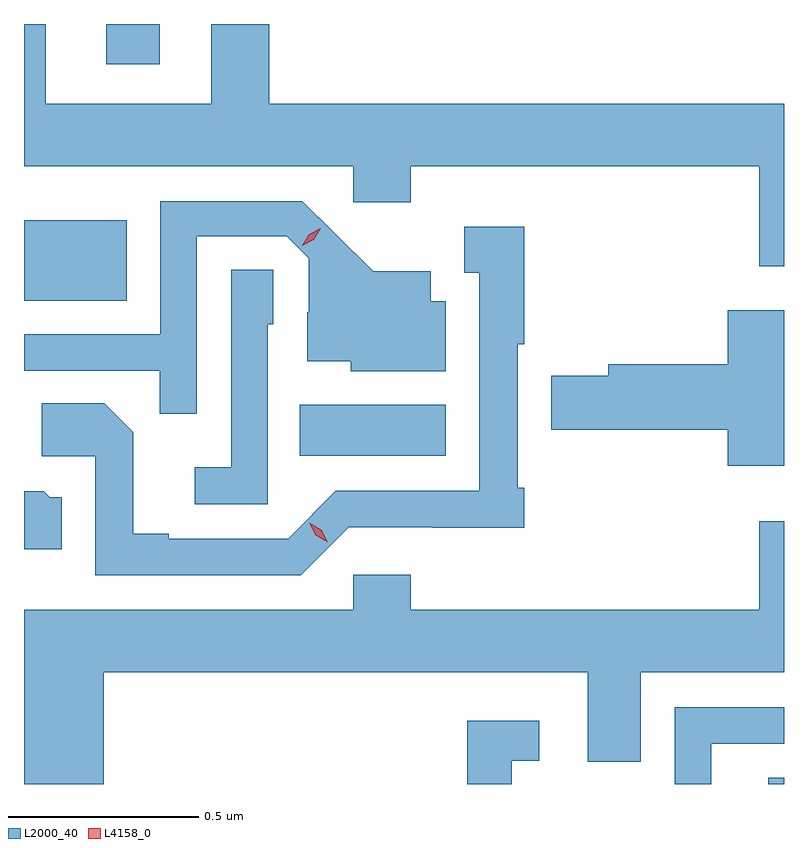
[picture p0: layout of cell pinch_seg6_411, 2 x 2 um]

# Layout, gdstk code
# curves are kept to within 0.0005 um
import gdstk
lib = gdstk.Library(unit=1e-6, precision=1e-09)
def R(c, l, rs):  # rectangles x0, y0, x1, y1
    for r in rs: c.add(gdstk.rectangle(r[:2], r[2:], *l))
def P(c, l, *ps):  # polygons
    for p in ps: c.add(gdstk.Polygon(p, *l))
L2000_40 = (2000, 40)
L4158_0 = (4158, 0)

pinch_seg6_411 = lib.new_cell('pinch_seg6_411')
R(pinch_seg6_411, L2000_40, [(666.96,933.722,667.002,933.738), (665.728,934.586,666.112,934.72), (665.002,934.994,665.272,935.206), (665.219,935.616,665.359,935.722)])
P(pinch_seg6_411, L2000_40, [(665.868,935.253),(666.02,935.253),(666.02,935.348),(666.937,935.348),(666.937,935.085),(667.002,935.085),(667.002,935.512),(665.648,935.512),(665.648,935.722),(665.495,935.722),(665.495,935.512),(665.059,935.512),(665.059,935.722),(665.002,935.722),(665.002,935.348),(665.868,935.348)],
  [(665.457,935.163),(665.694,935.163),(665.751,935.106),(665.751,934.964),(665.747,934.964),(665.747,934.835),(665.862,934.835),(665.862,934.808),(666.112,934.808),(666.112,934.993),(666.073,934.993),(666.073,935.071),(665.921,935.071),(665.734,935.256),(665.361,935.256),(665.361,934.905),(665.002,934.905),(665.002,934.809),(665.359,934.809),(665.359,934.696),(665.457,934.696)],
  [(665.856,934.398),(666.078,934.398),(666.078,934.397),(666.319,934.397),(666.319,934.501),(666.301,934.501),(666.301,934.879),(666.319,934.879),(666.319,935.188),(666.161,935.188),(666.161,935.067),(666.2,935.067),(666.2,934.494),(665.823,934.494),(665.697,934.368),(665.383,934.368),(665.383,934.381),(665.289,934.381),(665.289,934.648),(665.213,934.724),(665.049,934.724),(665.049,934.584),(665.19,934.584),(665.19,934.272),(665.73,934.272)],
  [(665.643,934.932),(665.658,934.932),(665.658,935.075),(665.547,935.075),(665.547,934.555),(665.451,934.555),(665.451,934.458),(665.643,934.458)],
  [(667.002,934.969),(666.854,934.969),(666.854,934.826),(666.539,934.826),(666.539,934.796),(666.39,934.796),(666.39,934.654),(666.854,934.654),(666.854,934.559),(667.002,934.559)],
  [(665.101,934.476),(665.07,934.476),(665.054,934.492),(665.002,934.492),(665.002,934.34),(665.101,934.34)],
  [(665.212,934.016),(666.485,934.016),(666.485,933.781),(666.625,933.781),(666.625,934.016),(667.002,934.016),(667.002,934.414),(666.937,934.414),(666.937,934.18),(666.02,934.18),(666.02,934.273),(665.868,934.273),(665.868,934.18),(665.002,934.18),(665.002,933.722),(665.212,933.722)],
  [(666.811,933.828),(667.002,933.828),(667.002,933.924),(666.714,933.924),(666.714,933.722),(666.811,933.722)],
  [(666.285,933.783),(666.358,933.783),(666.358,933.889),(666.169,933.889),(666.169,933.722),(666.285,933.722)])
P(pinch_seg6_411, L4158_0, [(665.801,934.358),(665.77,934.377),(665.753,934.41),(665.753,934.41),(665.753,934.41),(665.784,934.391),(665.801,934.358),(665.801,934.358)],
  [(665.734,935.139),(665.734,935.14),(665.752,935.169),(665.783,935.184),(665.783,935.184),(665.783,935.184),(665.765,935.154),(665.734,935.139)])

lib.write_gds('pinch_seg6_411.gds')
